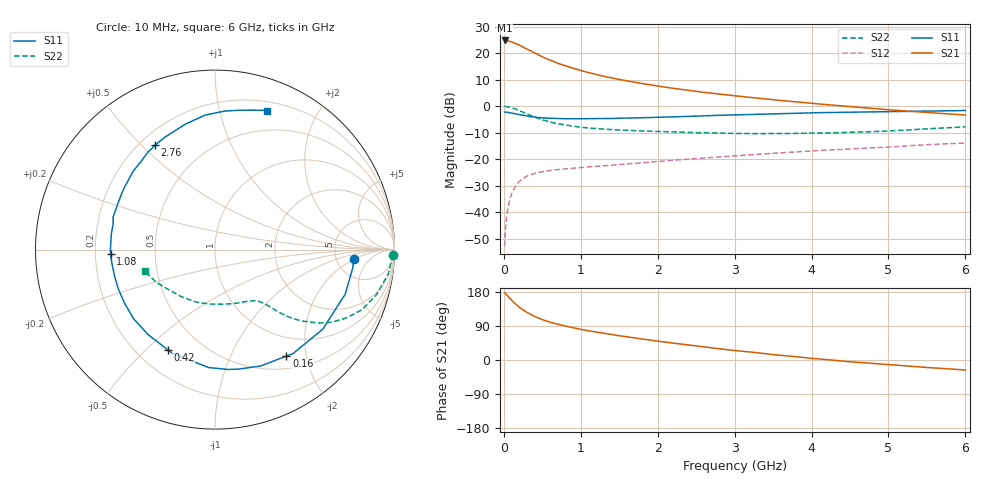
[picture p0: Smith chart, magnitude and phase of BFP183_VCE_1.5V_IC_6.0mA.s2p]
! Infineon Technologies  Discrete & RF Semiconductors
! BFP183
! VCE = 1.5 V,  IC =  6.0 mA
! Common Emitter S-Parameters:  Jan 2016
# GHz  S  MA  R  50
!  f  S11  S21  S12  S22
! GHz  MAG  ANG  MAG  ANG  MAG  ANG  MAG  ANG
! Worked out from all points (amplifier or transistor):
!   210 points, 10 MHz to 6 GHz, reference 50 ohm
!   highest |S21| = 24.8 dB at 10 MHz (marker M1)
!   |S21| within 3 dB of that: start of sweep to 283.3 MHz
!   unconditionally stable (mu >= 1): 1.371 GHz to 5.892 GHz
!   at 185 MHz: K = 0.19, MSG = 26.1 dB, |S12| = -28.9 dB
!   at 1.52 GHz: K = 1.04, MAG = 14.7 dB, |S12| = -21.9 dB
!   at 6 GHz: K = 0.98, MSG = 5.3 dB, |S12| = -13.9 dB
!   S11 on the Smith chart (normalised r, x): 10 MHz: 7.42, -1.86; 160 MHz: 0.68, -1.66; 420 MHz: 0.32, -0.58; 1.08 GHz: 0.26, -0.02; 2.76 GHz: 0.26, +0.55; 6 GHz: 0.29, +1.40
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0.01  0.7752 -3.7  17.31 177.9  0.0023 89.4  0.9901 -1.7
0.05  0.7667 -18.9  17.1 168.7  0.0113 80.7  0.9749 -8.0
0.1  0.7465 -36.4  16.3 157.9  0.0218 71.3  0.934 -15.6
0.16  0.7145 -56.2  15.03 146.3  0.0324 63.0  0.8726 -23.2
0.2  0.6965 -68.6  14.24 139.1  0.0381 58.3  0.8245 -27.5
0.26  0.6715 -84.0  12.75 130.6  0.0443 51.9  0.7542 -32.6
0.3  0.658 -93.1  11.92 125.7  0.0482 48.2  0.7095 -35.2
0.4  0.625 -112.3  10.01 114.6  0.0541 42.0  0.6219 -39.7
0.42  0.6169 -115.4  9.688 113.2  0.0549 41.2  0.6078 -40.2
0.5  0.6029 -128.2  8.474 106.4  0.0582 38.0  0.5522 -42.6
0.6  0.595 -139.7  7.378 99.9  0.0616 35.7  0.5025 -44.3
0.68  0.5862 -147.6  6.607 95.6  0.0634 34.5  0.4737 -45.2
0.8  0.5816 -158.4  5.753 89.5  0.0658 32.9  0.4403 -46.3
1.02  0.5799 -174.1  4.608 80.2  0.0698 32.3  0.3984 -48.2
1.08  0.5821 -177.5  4.377 77.9  0.0712 32.1  0.3905 -48.6
1.5  0.5958 162.2  3.187 64.0  0.0795 32.8  0.3556 -53.1
2.02  0.6168 142.2  2.366 49.3  0.0914 33.6  0.3327 -61.2
2.76  0.67 119.9  1.715 30.6  0.1097 32.9  0.3115 -76.7
3.1  0.6905 111.7  1.516 23.1  0.1186 32.0  0.3052 -85.2
4.1  0.7548 92.4  1.1 2.7  0.1458 27.7  0.3114 -113.5
5.1  0.7916 78.8  0.836 -13.6  0.1731 22.8  0.3462 -141.4
6  0.8273 69.5  0.68 -26.5  0.2024 15.5  0.4088 -162.8
